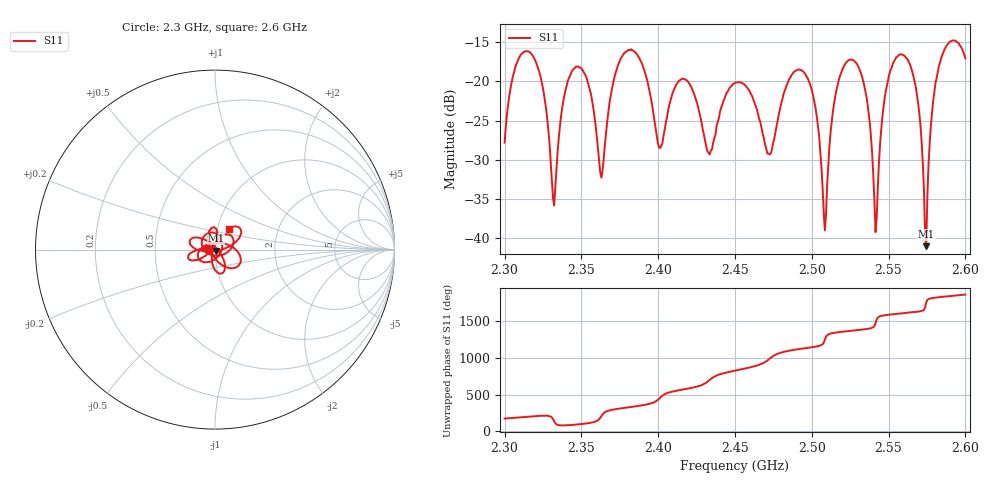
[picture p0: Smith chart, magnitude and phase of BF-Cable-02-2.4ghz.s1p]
! NanoVNA-App
! Date: 2026-05-22 19:15:51
! Start: 2.3GHz Stop: 2.6GHz Points: 401
! S-Parameter data: F S11
# Hz S RI R 50
!  Frequency  S11_Real  S11_Imag
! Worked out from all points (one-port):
!   401 points, 2.3 GHz to 2.6 GHz, reference 50 ohm
!   lowest |S11| = -41.1 dB at 2.575 GHz (marker M1), VSWR 1.02, Z = 50.6 - j0.691 ohm
!   |S11| at or under -10 dB: start of sweep to end of sweep
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2.3e9  -0.0405 0.00383
2.3075e9  -0.1271 -0.0143
2.31725e9  -0.1391 -0.0589
2.3255e9  -0.0711 -0.0458
2.33225e9  -0.0115 0.0113
2.3375e9  0.0113 0.0669
2.351e9  -0.0244 0.1149
2.363e9  -0.0219 -0.0104
2.375e9  0.0867 -0.1038
2.3885e9  0.1332 -0.0247
2.40125e9  -0.00401 0.0373
2.4125e9  -0.0947 -0.0238
2.4335e9  0.0317 -0.0126
2.45e9  -0.0242 0.095
2.4725e9  -0.00211 -0.0341
2.4875e9  0.1034 0.0432
2.50025e9  0.0378 0.0772
2.5085e9  -0.0106 0.00336
2.51525e9  -0.0142 -0.0788
2.525e9  0.0327 -0.1342
2.53475e9  0.0526 -0.07
2.5415e9  0.00958 0.00514
2.54975e9  -0.0812 0.0639
2.5625e9  -0.1356 0.0238
2.56925e9  -0.0719 -0.00766
2.5745e9  0.00561 -0.00683
2.5835e9  0.1224 0.0496
2.6e9  0.0774 0.1173
